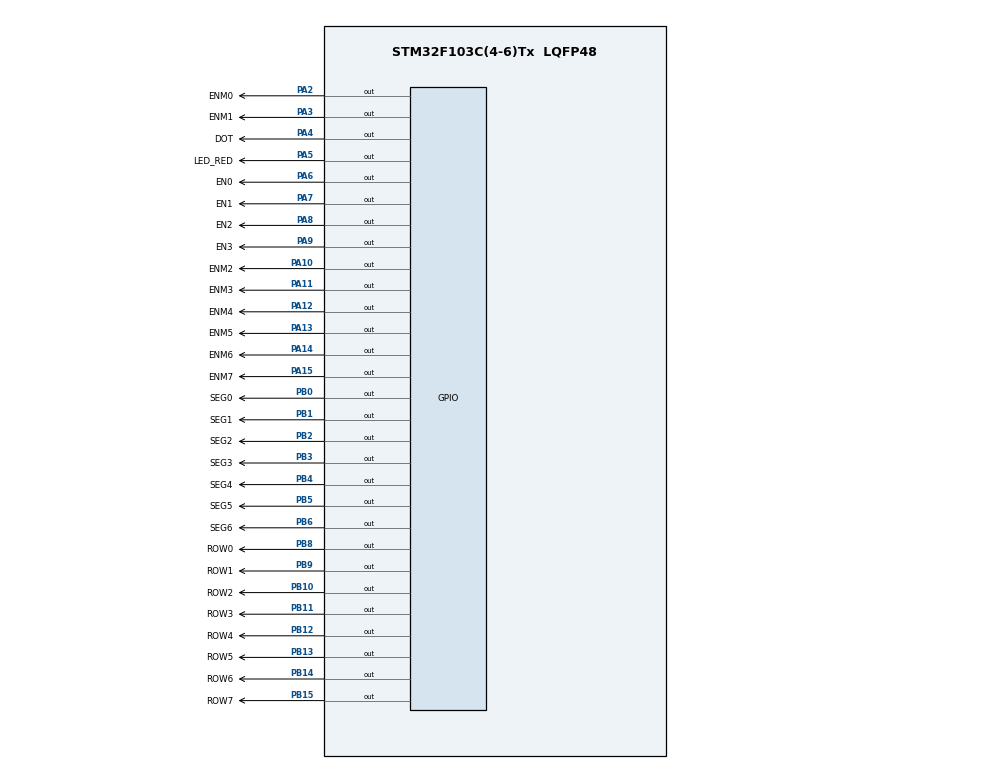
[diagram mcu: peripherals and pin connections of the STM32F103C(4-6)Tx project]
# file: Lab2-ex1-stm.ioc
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Mcu.Family=STM32F1
Mcu.Name=STM32F103C(4-6)Tx
Mcu.Package=LQFP48
NVIC.PriorityGroup=NVIC_PRIORITYGROUP_4
NVIC.TIM2_IRQn=true\:0\:0\:false\:false\:true\:true\:true\:true
PA10.GPIO_Label=ENM2
PA10.Signal=GPIO_Output
PA11.GPIO_Label=ENM3
PA11.Signal=GPIO_Output
PA12.GPIO_Label=ENM4
PA12.Signal=GPIO_Output
PA13.GPIO_Label=ENM5
PA13.Signal=GPIO_Output
PA14.GPIO_Label=ENM6
PA14.Signal=GPIO_Output
PA15.GPIO_Label=ENM7
PA15.Signal=GPIO_Output
PA2.GPIO_Label=ENM0
PA2.Signal=GPIO_Output
PA3.GPIO_Label=ENM1
PA3.Signal=GPIO_Output
PA4.GPIO_Label=DOT
PA4.Signal=GPIO_Output
PA5.GPIO_Label=LED_RED
PA5.Signal=GPIO_Output
PA6.GPIO_Label=EN0
PA6.Signal=GPIO_Output
PA7.GPIO_Label=EN1
PA7.Signal=GPIO_Output
PA8.GPIO_Label=EN2
PA8.Signal=GPIO_Output
PA9.GPIO_Label=EN3
PA9.Signal=GPIO_Output
PB0.GPIO_Label=SEG0
PB0.Signal=GPIO_Output
PB1.GPIO_Label=SEG1
PB1.Signal=GPIO_Output
PB10.GPIO_Label=ROW2
PB10.Signal=GPIO_Output
PB11.GPIO_Label=ROW3
PB11.Signal=GPIO_Output
PB12.GPIO_Label=ROW4
PB12.Signal=GPIO_Output
PB13.GPIO_Label=ROW5
PB13.Signal=GPIO_Output
PB14.GPIO_Label=ROW6
PB14.Signal=GPIO_Output
PB15.GPIO_Label=ROW7
PB15.Signal=GPIO_Output
PB2.GPIO_Label=SEG2
PB2.Signal=GPIO_Output
PB3.GPIO_Label=SEG3
PB3.Signal=GPIO_Output
PB4.GPIO_Label=SEG4
PB4.Signal=GPIO_Output
PB5.GPIO_Label=SEG5
PB5.Signal=GPIO_Output
PB6.GPIO_Label=SEG6
PB6.Signal=GPIO_Output
PB8.GPIO_Label=ROW0
PB8.Signal=GPIO_Output
PB9.GPIO_Label=ROW1
PB9.Signal=GPIO_Output
ProjectManager.HeapSize=0x200
ProjectManager.StackSize=0x400
ProjectManager.TargetToolchain=STM32CubeIDE
RCC.APB1Freq_Value=8000000
RCC.APB2Freq_Value=8000000
TIM2.Period=499
TIM2.Prescaler=7999
VP_TIM2_VS_ClockSourceINT.Mode=Internal
board=custom

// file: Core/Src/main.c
/* USER CODE BEGIN Header */
/**
  ******************************************************************************
  * @file           : main.c
  * @brief          : Main program body
  ******************************************************************************
  * @attention
  *
  * Copyright (c) 2022 STMicroelectronics.
  * All rights reserved.
  *
  * This software is licensed under terms that can be found in the LICENSE file
  * in the root directory of this software component.
  * If no LICENSE file comes with this software, it is provided AS-IS.
  *
  ******************************************************************************
  */
/* USER CODE END Header */
#include "main.h"

/* USER CODE BEGIN Includes */
#include "global.h"
#include "fsm_automatic.h"
#include "software-timer.h"
/* USER CODE END Includes */

TIM_HandleTypeDef htim2;

void SystemClock_Config(void);
static void MX_GPIO_Init(void);
static void MX_TIM2_Init(void);

/* USER CODE BEGIN 0 */
const int MAX_LED = 4;
int index_led = 0;
int led_buffer[4] = {1,2,3,4};

void update7SEG(int index) {
	switch (index) {
	case 0:
		HAL_GPIO_WritePin(GPIOA, EN0_Pin, RESET);
		HAL_GPIO_WritePin(GPIOA, EN1_Pin, SET);
		HAL_GPIO_WritePin(GPIOA, EN2_Pin, SET);
		HAL_GPIO_WritePin(GPIOA, EN3_Pin, SET);
		display_7seg_com_anode(led_buffer[0]);
		break;
	case 1:
		HAL_GPIO_WritePin(GPIOA, EN0_Pin, SET);
		HAL_GPIO_WritePin(GPIOA, EN1_Pin, RESET);
		HAL_GPIO_WritePin(GPIOA, EN2_Pin, SET);
		HAL_GPIO_WritePin(GPIOA, EN3_Pin, SET);
		display_7seg_com_anode(led_buffer[1]);
		break;
	case 2:
		HAL_GPIO_WritePin(GPIOA, EN0_Pin, SET);
		HAL_GPIO_WritePin(GPIOA, EN1_Pin, SET);
		HAL_GPIO_WritePin(GPIOA, EN2_Pin, RESET);
		HAL_GPIO_WritePin(GPIOA, EN3_Pin, SET);
		display_7seg_com_anode(led_buffer[2]);
		break;
	case 3:
		HAL_GPIO_WritePin(GPIOA, EN0_Pin, SET);
		HAL_GPIO_WritePin(GPIOA, EN1_Pin, SET);
		HAL_GPIO_WritePin(GPIOA, EN2_Pin, SET);
		HAL_GPIO_WritePin(GPIOA, EN3_Pin, RESET);
		display_7seg_com_anode(led_buffer[3]);
		break;
	default:
		break;
	}
}

uint16_t A[8] = {
		0x18,
		0x3C,
		0x66,
		0x66,
		0x7E,
		0x7E,
		0x66,
		0x66
};

void displayA(int row) {
	HAL_GPIO_WritePin(GPIOB, ROW0_Pin, (A[row]>>7)&0x01);
	HAL_GPIO_WritePin(GPIOB, ROW1_Pin, (A[row]>>6)&0x01);
	HAL_GPIO_WritePin(GPIOB, ROW2_Pin, (A[row]>>5)&0x01);
	HAL_GPIO_WritePin(GPIOB, ROW3_Pin, (A[row]>>4)&0x01);
	HAL_GPIO_WritePin(GPIOB, ROW4_Pin, (A[row]>>3)&0x01);
	HAL_GPIO_WritePin(GPIOB, ROW5_Pin, (A[row]>>2)&0x01);
	HAL_GPIO_WritePin(GPIOB, ROW6_Pin, (A[row]>>1)&0x01);
	HAL_GPIO_WritePin(GPIOB, ROW7_Pin, (A[row]>>0)&0x01);
}

void displayCol(int col) {
	switch (col) {
	case 0:
		HAL_GPIO_WritePin(GPIOA, ENM0_Pin, SET);
		HAL_GPIO_WritePin(GPIOA, ENM1_Pin, RESET);
		HAL_GPIO_WritePin(GPIOA, ENM2_Pin, RESET);
		HAL_GPIO_WritePin(GPIOA, ENM3_Pin, RESET);
		HAL_GPIO_WritePin(GPIOA, ENM4_Pin, RESET);
		HAL_GPIO_WritePin(GPIOA, ENM5_Pin, RESET);
		HAL_GPIO_WritePin(GPIOA, ENM6_Pin, RESET);
		HAL_GPIO_WritePin(GPIOA, ENM7_Pin, RESET);
		break;
	case 1:
		HAL_GPIO_WritePin(GPIOA, ENM0_Pin, RESET);
		HAL_GPIO_WritePin(GPIOA, ENM1_Pin, SET);
		HAL_GPIO_WritePin(GPIOA, ENM2_Pin, RESET);
		HAL_GPIO_WritePin(GPIOA, ENM3_Pin, RESET);
		HAL_GPIO_WritePin(GPIOA, ENM4_Pin, RESET);
		HAL_GPIO_WritePin(GPIOA, ENM5_Pin, RESET);
		HAL_GPIO_WritePin(GPIOA, ENM6_Pin, RESET);
		HAL_GPIO_WritePin(GPIOA, ENM7_Pin, RESET);
		break;
	case 2:
		HAL_GPIO_WritePin(GPIOA, ENM0_Pin, RESET);
		HAL_GPIO_WritePin(GPIOA, ENM1_Pin, RESET);
		HAL_GPIO_WritePin(GPIOA, ENM2_Pin, SET);
		HAL_GPIO_WritePin(GPIOA, ENM3_Pin, RESET);
		HAL_GPIO_WritePin(GPIOA, ENM4_Pin, RESET);
		HAL_GPIO_WritePin(GPIOA, ENM5_Pin, RESET);
		HAL_GPIO_WritePin(GPIOA, ENM6_Pin, RESET);
		HAL_GPIO_WritePin(GPIOA, ENM7_Pin, RESET);
		break;
	case 3:
		HAL_GPIO_WritePin(GPIOA, ENM0_Pin, RESET);
		HAL_GPIO_WritePin(GPIOA, ENM1_Pin, RESET);
		HAL_GPIO_WritePin(GPIOA, ENM2_Pin, RESET);
		HAL_GPIO_WritePin(GPIOA, ENM3_Pin, SET);
		HAL_GPIO_WritePin(GPIOA, ENM4_Pin, RESET);
		HAL_GPIO_WritePin(GPIOA, ENM5_Pin, RESET);
		HAL_GPIO_WritePin(GPIOA, ENM6_Pin, RESET);
		HAL_GPIO_WritePin(GPIOA, ENM7_Pin, RESET);
		break;
	case 4:
		HAL_GPIO_WritePin(GPIOA, ENM0_Pin, RESET);
		HAL_GPIO_WritePin(GPIOA, ENM1_Pin, RESET);
		HAL_GPIO_WritePin(GPIOA, ENM2_Pin, RESET);
		HAL_GPIO_WritePin(GPIOA, ENM3_Pin, RESET);
		HAL_GPIO_WritePin(GPIOA, ENM4_Pin, SET);
		HAL_GPIO_WritePin(GPIOA, ENM5_Pin, RESET);
		HAL_GPIO_WritePin(GPIOA, ENM6_Pin, RESET);
		HAL_GPIO_WritePin(GPIOA, ENM7_Pin, RESET);
		break;
	case 5:
		HAL_GPIO_WritePin(GPIOA, ENM0_Pin, RESET);
		HAL_GPIO_WritePin(GPIOA, ENM1_Pin, RESET);
		HAL_GPIO_WritePin(GPIOA, ENM2_Pin, RESET);
		HAL_GPIO_WritePin(GPIOA, ENM3_Pin, RESET);
		HAL_GPIO_WritePin(GPIOA, ENM4_Pin, RESET);
		HAL_GPIO_WritePin(GPIOA, ENM5_Pin, SET);
		HAL_GPIO_WritePin(GPIOA, ENM6_Pin, RESET);
		HAL_GPIO_WritePin(GPIOA, ENM7_Pin, RESET);
		break;
	case 6:
		HAL_GPIO_WritePin(GPIOA, ENM0_Pin, RESET);
		HAL_GPIO_WritePin(GPIOA, ENM1_Pin, RESET);
		HAL_GPIO_WritePin(GPIOA, ENM2_Pin, RESET);
		HAL_GPIO_WritePin(GPIOA, ENM3_Pin, RESET);
		HAL_GPIO_WritePin(GPIOA, ENM4_Pin, RESET);
		HAL_GPIO_WritePin(GPIOA, ENM5_Pin, RESET);
		HAL_GPIO_WritePin(GPIOA, ENM6_Pin, SET);
		HAL_GPIO_WritePin(GPIOA, ENM7_Pin, RESET);
		break;
	case 7:
		HAL_GPIO_WritePin(GPIOA, ENM0_Pin, RESET);
		HAL_GPIO_WritePin(GPIOA, ENM1_Pin, RESET);
		HAL_GPIO_WritePin(GPIOA, ENM2_Pin, RESET);
		HAL_GPIO_WritePin(GPIOA, ENM3_Pin, RESET);
		HAL_GPIO_WritePin(GPIOA, ENM4_Pin, RESET);
		HAL_GPIO_WritePin(GPIOA, ENM5_Pin, RESET);
		HAL_GPIO_WritePin(GPIOA, ENM6_Pin, RESET);
		HAL_GPIO_WritePin(GPIOA, ENM7_Pin, SET);
		break;
	default:
		break;
	}
}
/* USER CODE END 0 */

int main(void)
{

  /* MCU Configuration--------------------------------------------------------*/

  /* Reset of all peripherals, Initializes the Flash interface and the Systick. */
  HAL_Init();

  /* Configure the system clock */
  SystemClock_Config();

  /* Initialize all configured peripherals */
  MX_GPIO_Init();
  MX_TIM2_Init();
  /* USER CODE BEGIN 2 */
  HAL_TIM_Base_Start_IT(&htim2);
  /* USER CODE END 2 */

  /* Infinite loop */
  /* USER CODE BEGIN WHILE */
  setTimer1(4);
  state = STATE21;

  while (1)
  {
	  //fsm_automatic();
	  //HAL_GPIO_TogglePin(GPIOA, ENM0_Pin)

    /* USER CODE END WHILE */

  }
}

void SystemClock_Config(void)
{
  RCC_OscInitTypeDef RCC_OscInitStruct = {0};
  RCC_ClkInitTypeDef RCC_ClkInitStruct = {0};

  /** Initializes the RCC Oscillators according to the specified parameters
  * in the RCC_OscInitTypeDef structure.
  */
  RCC_OscInitStruct.OscillatorType = RCC_OSCILLATORTYPE_HSI;
  RCC_OscInitStruct.HSIState = RCC_HSI_ON;
  RCC_OscInitStruct.HSICalibrationValue = RCC_HSICALIBRATION_DEFAULT;
  RCC_OscInitStruct.PLL.PLLState = RCC_PLL_NONE;
  if (HAL_RCC_OscConfig(&RCC_OscInitStruct) != HAL_OK)
  {
    Error_Handler();
  }

  /** Initializes the CPU, AHB and APB buses clocks
  */
  RCC_ClkInitStruct.ClockType = RCC_CLOCKTYPE_HCLK|RCC_CLOCKTYPE_SYSCLK
                              |RCC_CLOCKTYPE_PCLK1|RCC_CLOCKTYPE_PCLK2;
  RCC_ClkInitStruct.SYSCLKSource = RCC_SYSCLKSOURCE_HSI;
  RCC_ClkInitStruct.AHBCLKDivider = RCC_SYSCLK_DIV1;
  RCC_ClkInitStruct.APB1CLKDivider = RCC_HCLK_DIV1;
  RCC_ClkInitStruct.APB2CLKDivider = RCC_HCLK_DIV1;

  if (HAL_RCC_ClockConfig(&RCC_ClkInitStruct, FLASH_LATENCY_0) != HAL_OK)
  {
    Error_Handler();
  }
}

static void MX_TIM2_Init(void)
{

  TIM_ClockConfigTypeDef sClockSourceConfig = {0};
  TIM_MasterConfigTypeDef sMasterConfig = {0};

  htim2.Instance = TIM2;
  htim2.Init.Prescaler = 7999;
  htim2.Init.CounterMode = TIM_COUNTERMODE_UP;
  htim2.Init.Period = 499;
  htim2.Init.ClockDivision = TIM_CLOCKDIVISION_DIV1;
  htim2.Init.AutoReloadPreload = TIM_AUTORELOAD_PRELOAD_DISABLE;
  if (HAL_TIM_Base_Init(&htim2) != HAL_OK)
  {
    Error_Handler();
  }
  sClockSourceConfig.ClockSource = TIM_CLOCKSOURCE_INTERNAL;
  if (HAL_TIM_ConfigClockSource(&htim2, &sClockSourceConfig) != HAL_OK)
  {
    Error_Handler();
  }
  sMasterConfig.MasterOutputTrigger = TIM_TRGO_RESET;
  sMasterConfig.MasterSlaveMode = TIM_MASTERSLAVEMODE_DISABLE;
  if (HAL_TIMEx_MasterConfigSynchronization(&htim2, &sMasterConfig) != HAL_OK)
  {
    Error_Handler();
  }

}

static void MX_GPIO_Init(void)
{
  GPIO_InitTypeDef GPIO_InitStruct = {0};

  /* GPIO Ports Clock Enable */
  __HAL_RCC_GPIOA_CLK_ENABLE();
  __HAL_RCC_GPIOB_CLK_ENABLE();

  /*Configure GPIO pin Output Level */
  HAL_GPIO_WritePin(GPIOA, ENM0_Pin|ENM1_Pin|DOT_Pin|LED_RED_Pin
                          |EN0_Pin|EN1_Pin|EN2_Pin|EN3_Pin
                          |ENM2_Pin|ENM3_Pin|ENM4_Pin|ENM5_Pin
                          |ENM6_Pin|ENM7_Pin, GPIO_PIN_RESET);

  /*Configure GPIO pin Output Level */
  HAL_GPIO_WritePin(GPIOB, SEG0_Pin|SEG1_Pin|SEG2_Pin|ROW2_Pin
                          |ROW3_Pin|ROW4_Pin|ROW5_Pin|ROW6_Pin
                          |ROW7_Pin|SEG3_Pin|SEG4_Pin|SEG5_Pin
                          |SEG6_Pin|ROW0_Pin|ROW1_Pin, GPIO_PIN_RESET);

  /*Configure GPIO pins : ENM0_Pin ENM1_Pin DOT_Pin LED_RED_Pin
                           EN0_Pin EN1_Pin EN2_Pin EN3_Pin
                           ENM2_Pin ENM3_Pin ENM4_Pin ENM5_Pin
                           ENM6_Pin ENM7_Pin */
  GPIO_InitStruct.Pin = ENM0_Pin|ENM1_Pin|DOT_Pin|LED_RED_Pin
                          |EN0_Pin|EN1_Pin|EN2_Pin|EN3_Pin
                          |ENM2_Pin|ENM3_Pin|ENM4_Pin|ENM5_Pin
                          |ENM6_Pin|ENM7_Pin;
  GPIO_InitStruct.Mode = GPIO_MODE_OUTPUT_PP;
  GPIO_InitStruct.Pull = GPIO_NOPULL;
  GPIO_InitStruct.Speed = GPIO_SPEED_FREQ_LOW;
  HAL_GPIO_Init(GPIOA, &GPIO_InitStruct);

  /*Configure GPIO pins : SEG0_Pin SEG1_Pin SEG2_Pin ROW2_Pin
                           ROW3_Pin ROW4_Pin ROW5_Pin ROW6_Pin
                           ROW7_Pin SEG3_Pin SEG4_Pin SEG5_Pin
                           SEG6_Pin ROW0_Pin ROW1_Pin */
  GPIO_InitStruct.Pin = SEG0_Pin|SEG1_Pin|SEG2_Pin|ROW2_Pin
                          |ROW3_Pin|ROW4_Pin|ROW5_Pin|ROW6_Pin
                          |ROW7_Pin|SEG3_Pin|SEG4_Pin|SEG5_Pin
                          |SEG6_Pin|ROW0_Pin|ROW1_Pin;
  GPIO_InitStruct.Mode = GPIO_MODE_OUTPUT_PP;
  GPIO_InitStruct.Pull = GPIO_NOPULL;
  GPIO_InitStruct.Speed = GPIO_SPEED_FREQ_LOW;
  HAL_GPIO_Init(GPIOB, &GPIO_InitStruct);

}

/* USER CODE BEGIN 4 */
int led0 = 1;
int led1 = 2;
int led2 = 3;
int led3 = 0;
int counter = 0;
int display = 0;
int row = 0;
void HAL_TIM_PeriodElapsedCallback(TIM_HandleTypeDef *htim) {
	//timerRun();
	//EX2
//	HAL_GPIO_TogglePin(GPIOA, DOT_Pin);
//	if (counter == 4) {
//		counter = 0;
//		if (led3 == 9) {
//			led3 = 0;
//			if (led2 == 5) {
//				led2 = 0;
//				if (led1 == 9) {
//					if (led0 == 0) {
//						led1 = 0;
//						led0++;
//					}
//				} else if (led1 == 2 && led0 == 1) {
//					led0 = 0;
//					led1 = 0;
//				}
//			} else {
//				led2++;
//			}
//		} else {
//			led3++;
//		}
//	} else {
//		counter++;
//		if (counter > 4) counter = 0;
//	}
//	switch (display) {
//	case 0:
//		HAL_GPIO_WritePin(GPIOA, EN0_Pin, RESET);
//		HAL_GPIO_WritePin(GPIOA, EN1_Pin, SET);
//		HAL_GPIO_WritePin(GPIOA, EN2_Pin, SET);
//		HAL_GPIO_WritePin(GPIOA, EN3_Pin, SET);
//		display_7seg_com_anode(led0);
//		break;
//	case 1:
//		HAL_GPIO_WritePin(GPIOA, EN0_Pin, SET);
//		HAL_GPIO_WritePin(GPIOA, EN1_Pin, RESET);
//		HAL_GPIO_WritePin(GPIOA, EN2_Pin, SET);
//		HAL_GPIO_WritePin(GPIOA, EN3_Pin, SET);
//		display_7seg_com_anode(led1);
//		break;
//	case 2:
//		HAL_GPIO_WritePin(GPIOA, EN0_Pin, SET);
//		HAL_GPIO_WritePin(GPIOA, EN1_Pin, SET);
//		HAL_GPIO_WritePin(GPIOA, EN2_Pin, RESET);
//		HAL_GPIO_WritePin(GPIOA, EN3_Pin, SET);
//		display_7seg_com_anode(led2);
//		break;
//	case 3:
//		HAL_GPIO_WritePin(GPIOA, EN0_Pin, SET);
//		HAL_GPIO_WritePin(GPIOA, EN1_Pin, SET);
//		HAL_GPIO_WritePin(GPIOA, EN2_Pin, SET);
//		HAL_GPIO_WritePin(GPIOA, EN3_Pin, RESET);
//		display_7seg_com_anode(led3);
//		display = - 1;
//		break;
//	default:
//		break;
//	}
//	display++;
//EX 1
//	switch(counter) {
//	case 0:
//		HAL_GPIO_WritePin(GPIOA, EN0_Pin, RESET);
//		HAL_GPIO_WritePin(GPIOA, EN1_Pin, SET);
//		display_7seg_com_anode(1);
//		break;
//	case 1:
//		HAL_GPIO_WritePin(GPIOA, EN0_Pin, SET);
//		HAL_GPIO_WritePin(GPIOA, EN1_Pin, RESET);
//		display_7seg_com_anode(2);
//		break;
//	case 2:
//		HAL_GPIO_WritePin(GPIOA, EN0_Pin, RESET);
//		HAL_GPIO_WritePin(GPIOA, EN1_Pin, SET);
//		display_7seg_com_anode(2);
//		break;
//	case 3:
//		HAL_GPIO_WritePin(GPIOA, EN0_Pin, SET);
//		HAL_GPIO_WritePin(GPIOA, EN1_Pin, RESET);
//		display_7seg_com_anode(1);
//		counter = -1;
//		break;
//	default:
//		break;
//	}
//	counter++;

////EX3
//	if (index_led <= 3){
//		update7SEG(index_led);
//		index_led++;
//		if (index_led > 3) index_led = 0;
//	}

//EX10
	if (row <= 7) {
			  displayA(row);
			  displayCol(row);
			  row++;
		  } else {
			  if (row > 7) row = 0;
		  }

}
/* USER CODE END 4 */

void Error_Handler(void)
{
  __disable_irq();
  while (1)
  {
  }
}
